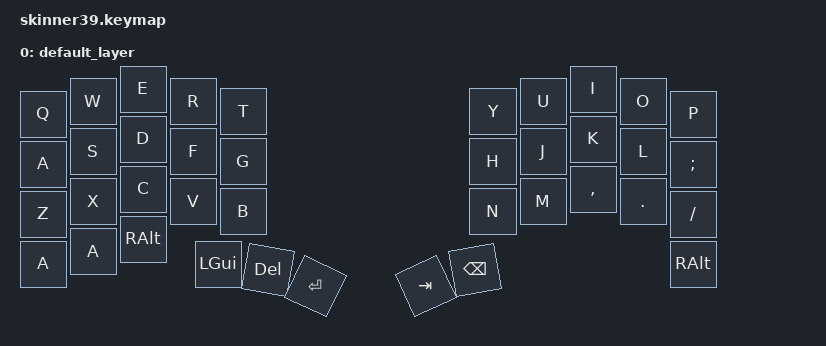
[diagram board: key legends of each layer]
#include <behaviors.dtsi>
#include <dt-bindings/zmk/keys.h>
#include <dt-bindings/zmk/bt.h>
#include <dt-bindings/zmk/ext_power.h>
#include <dt-bindings/zmk/rgb.h>

/ {
    tb0_mmv_ibl {
        compatible = "zmk,input-behavior-listener";
        device = <&trackball>;
        layers = <0 1 5>;

        /* NOTE: only apply input-code overriding for INPUT_EV_REL */

        evt-type = <INPUT_EV_REL>;
        x-input-code = <INPUT_REL_X>;
        y-input-code = <INPUT_REL_Y>;
        scale-multiplier = <1>;
        scale-divisor = <1>;

        /* bind a behavior to auto activate MSK layer for &mkp */

        bindings = <&ib_tog_layer 1>;

        /* align to CCW 45 degree */
        // rotate-deg = <315>;
        /* NOTE 1: This settings do not compitable with y-invert and x-invert */
        /* NOTE 2: Floating point computation requires alot of ram. */
        /*         This feature will cuase stackove flow with CONFIG_ZMK_USB_LOGGING=y */
    };

    /* input config for mouse scroll mode on momentary mouse scoll layer (MSC) */

    tb0_msl_ibl {
        compatible = "zmk,input-behavior-listener";
        device = <&trackball>;
        layers = <2>;
        evt-type = <INPUT_EV_REL>;

        /* slienting x-axis with alt event code */

        x-input-code = <INPUT_REL_MISC>;
        y-input-code = <INPUT_REL_WHEEL>;

        /* invent scrolling direction */

        y-invert;

        /* align to CCW 45 degree */
        // rotate-deg = <315>;
        /* NOTE 1: This settings do not compitable with y-invert and x-invert */
        /* NOTE 2: Floating point computation requires alot of ram. */
        /*         This feature will cuase stackove flow with CONFIG_ZMK_USB_LOGGING=y */
        /* bind a behavior to down scaling input value to (1/8) */
        /* NOTE: This behavior is different to scale-divisor. */
        /*       The delta value is accumlated until result >= 1 after cast. */
        /*       The scrolling is preented in hi-res and allow precise scrolling */

        bindings = <&ib_wheel_scaler 1 64>;
    };

    /* adjust cooldown waiting period for mouse key layer (MSK) after activated */

    ib_tog_layer: ib_tog_layer {
        compatible = "zmk,input-behavior-tog-layer";
        #binding-cells = <1>;
        time-to-live-ms = <1500>;
    };

    /* define a resolution down scaler only for INPUT_REL_WHEEL */

    ib_wheel_scaler: ib_wheel_scaler {
        compatible = "zmk,input-behavior-scaler";
        #binding-cells = <2>;
        evt-type = <INPUT_EV_REL>;
        input-code = <INPUT_REL_WHEEL>;
    };
};

// / {
//     chosen {
//         zmk,physical-layout = &matrix_physical_layout;
//     };
// };
/ {

	keymap {
		compatible = "zmk,keymap";

		default_layer {
			bindings = <
				&kp Q    &kp W    &kp E     &kp R     &kp T                         &kp Y     &kp U     &kp I     &kp O      &kp P 
				&kp A    &kp S    &kp D     &kp F     &kp G                         &kp H     &kp J     &kp K     &kp L      &kp SEMI
				&kp Z    &kp X    &kp C     &kp V     &kp B                         &kp N     &kp M     &kp COMMA &kp PERIOD &kp SLASH
				&kp A    &kp A    &kp RALT  &kp LGUI  &kp DEL  &kp RET    &kp TAB   &kp BSPC                                 &kp RALT
			>;
		};
	};
};
